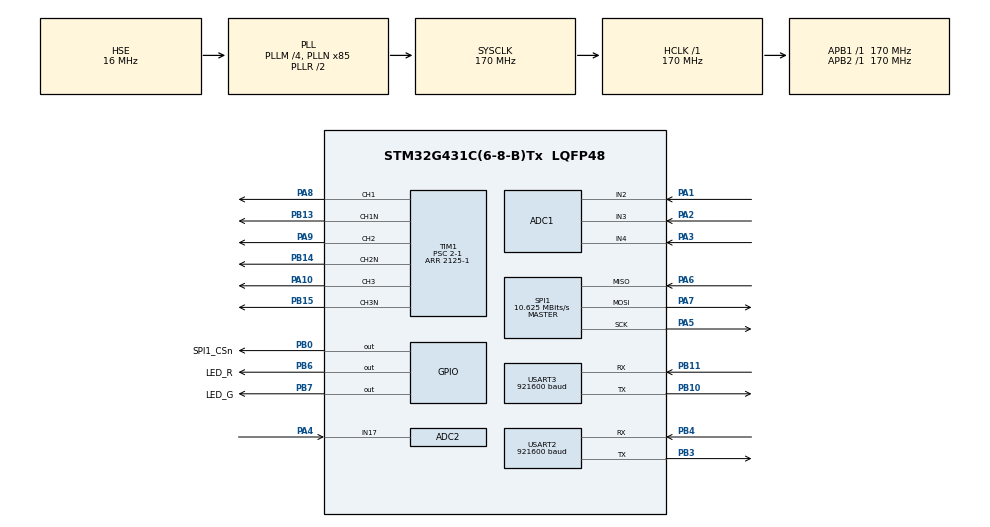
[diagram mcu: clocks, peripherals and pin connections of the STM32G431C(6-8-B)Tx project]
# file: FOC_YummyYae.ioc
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ADC1.ClockPrescaler=ADC_CLOCK_ASYNC_DIV4
ADC1.EnableInjectedConversion=ENABLE
ADC1.EnableRegularConversion=DISABLE
ADC1.ExternalTrigInjecConv=ADC_EXTERNALTRIGINJEC_T1_TRGO2
ADC1.InjNumberOfConversion=3
ADC1.InjectedChannel-2\#ChannelInjectedConversion=ADC_CHANNEL_2
ADC1.InjectedChannel-3\#ChannelInjectedConversion=ADC_CHANNEL_2
ADC1.InjectedChannel-4\#ChannelInjectedConversion=ADC_CHANNEL_2
ADC1.InjectedOffsetNumber-2\#ChannelInjectedConversion=ADC_OFFSET_NONE
ADC1.InjectedOffsetNumber-3\#ChannelInjectedConversion=ADC_OFFSET_NONE
ADC1.InjectedOffsetNumber-4\#ChannelInjectedConversion=ADC_OFFSET_NONE
ADC1.InjectedRank-2\#ChannelInjectedConversion=1
ADC1.InjectedRank-3\#ChannelInjectedConversion=2
ADC1.InjectedRank-4\#ChannelInjectedConversion=3
ADC1.InjectedSamplingTime-2\#ChannelInjectedConversion=ADC_SAMPLETIME_2CYCLES_5
ADC1.InjectedSamplingTime-3\#ChannelInjectedConversion=ADC_SAMPLETIME_2CYCLES_5
ADC1.InjectedSamplingTime-4\#ChannelInjectedConversion=ADC_SAMPLETIME_2CYCLES_5
ADC1.Overrun=ADC_OVR_DATA_OVERWRITTEN
ADC1.Rank1_Channel=ADC_CHANNEL_2
ADC1.Rank2_Channel=ADC_CHANNEL_2
ADC1.Rank3_Channel=ADC_CHANNEL_2
ADC1.master=1
ADC2.ClockPrescaler=ADC_CLOCK_ASYNC_DIV4
ADC2.EnableInjectedConversion=ENABLE
ADC2.EnableRegularConversion=DISABLE
ADC2.InjNumberOfConversion=1
ADC2.InjectedChannel-1\#ChannelInjectedConversion=ADC_CHANNEL_17
ADC2.InjectedOffsetNumber-1\#ChannelInjectedConversion=ADC_OFFSET_NONE
ADC2.InjectedRank-1\#ChannelInjectedConversion=1
ADC2.InjectedSamplingTime-1\#ChannelInjectedConversion=ADC_SAMPLETIME_2CYCLES_5
ADC2.Rank1_Channel=ADC_CHANNEL_17
Dma.ADC1.0.Direction=DMA_PERIPH_TO_MEMORY
Dma.ADC1.0.EventEnable=DISABLE
Dma.ADC1.0.Instance=DMA1_Channel1
Dma.ADC1.0.MemDataAlignment=DMA_MDATAALIGN_HALFWORD
Dma.ADC1.0.MemInc=DMA_MINC_ENABLE
Dma.ADC1.0.Mode=DMA_CIRCULAR
Dma.ADC1.0.PeriphDataAlignment=DMA_PDATAALIGN_HALFWORD
Dma.ADC1.0.PeriphInc=DMA_PINC_DISABLE
Dma.ADC1.0.Polarity=HAL_DMAMUX_REQ_GEN_RISING
Dma.ADC1.0.Priority=DMA_PRIORITY_LOW
Dma.ADC1.0.RequestNumber=1
Dma.ADC1.0.SignalID=NONE
Dma.ADC1.0.SyncEnable=DISABLE
Dma.ADC1.0.SyncPolarity=HAL_DMAMUX_SYNC_NO_EVENT
Dma.ADC1.0.SyncRequestNumber=1
Dma.ADC1.0.SyncSignalID=NONE
Dma.Request0=ADC1
Mcu.Family=STM32G4
Mcu.Name=STM32G431C(6-8-B)Tx
Mcu.Package=LQFP48
NVIC.DMA1_Channel1_IRQn=true\:0\:0\:false\:false\:true\:false\:true\:true
NVIC.PriorityGroup=NVIC_PRIORITYGROUP_4
NVIC.TIM2_IRQn=true\:15\:0\:false\:false\:true\:false\:true\:true
NVIC.TIM6_DAC_IRQn=true\:0\:0\:false\:false\:true\:true\:true\:true
NVIC.TIM7_IRQn=true\:0\:0\:false\:false\:true\:true\:true\:true
NVIC.TimeBase=TIM2_IRQn
NVIC.TimeBaseIP=TIM2
PA1.Mode=IN2-Single-Ended
PA1.Signal=ADC1_IN2
PA10.Signal=S_TIM1_CH3
PA13.Mode=Serial_Wire
PA13.Signal=SYS_JTMS-SWDIO
PA14.Mode=Serial_Wire
PA14.Signal=SYS_JTCK-SWCLK
PA2.Mode=IN3-Single-Ended
PA2.Signal=ADC1_IN3
PA3.Mode=IN4-Single-Ended
PA3.Signal=ADC1_IN4
PA4.Mode=IN17-Single-Ended
PA4.Signal=ADC2_IN17
PA5.GPIO_Speed=GPIO_SPEED_FREQ_HIGH
PA5.Mode=Full_Duplex_Master
PA5.Signal=SPI1_SCK
PA6.GPIO_Speed=GPIO_SPEED_FREQ_HIGH
PA6.Mode=Full_Duplex_Master
PA6.Signal=SPI1_MISO
PA7.GPIO_Speed=GPIO_SPEED_FREQ_HIGH
PA7.Mode=Full_Duplex_Master
PA7.Signal=SPI1_MOSI
PA8.Signal=S_TIM1_CH1
PA9.Signal=S_TIM1_CH2
PB0.GPIO_Label=SPI1_CSn
PB0.Signal=GPIO_Output
PB10.Mode=Asynchronous
PB10.Signal=USART3_TX
PB11.Mode=Asynchronous
PB11.Signal=USART3_RX
PB13.Mode=PWM Generation1 CH1 CH1N
PB13.Signal=TIM1_CH1N
PB14.Mode=PWM Generation2 CH2 CH2N
PB14.Signal=TIM1_CH2N
PB15.Mode=PWM Generation3 CH3 CH3N
PB15.Signal=TIM1_CH3N
PB3.Mode=Asynchronous
PB3.Signal=USART2_TX
PB4.Mode=Asynchronous
PB4.Signal=USART2_RX
PB6.GPIO_Label=LED_R
PB6.PinState=GPIO_PIN_SET
PB6.Signal=GPIO_Output
PB7.GPIO_Label=LED_G
PB7.PinState=GPIO_PIN_SET
PB7.Signal=GPIO_Output
PF0-OSC_IN.Mode=HSE-External-Oscillator
PF0-OSC_IN.Signal=RCC_OSC_IN
PF1-OSC_OUT.Mode=HSE-External-Oscillator
PF1-OSC_OUT.Signal=RCC_OSC_OUT
ProjectManager.HeapSize=0x200
ProjectManager.StackSize=0x400
ProjectManager.TargetToolchain=MDK-ARM V5.32
RCC.ADC12Freq_Value=170000000
RCC.AHBFreq_Value=170000000
RCC.APB1Freq_Value=170000000
RCC.APB1TimFreq_Value=170000000
RCC.APB2Freq_Value=170000000
RCC.APB2TimFreq_Value=170000000
RCC.CK48CLockSelection=RCC_USBCLKSOURCE_HSI48
RCC.CortexFreq_Value=170000000
RCC.EXTERNAL_CLOCK_VALUE=12288000
RCC.HCLKFreq_Value=170000000
RCC.HSE_VALUE=16000000
RCC.HSI48_VALUE=48000000
RCC.HSI_VALUE=16000000
RCC.LSE_VALUE=32768
RCC.PLLM=RCC_PLLM_DIV4
RCC.PLLN=85
RCC.PLLQ=RCC_PLLQ_DIV4
RCC.PLLSourceVirtual=RCC_PLLSOURCE_HSE
RCC.SYSCLKFreq_VALUE=170000000
RCC.SYSCLKSource=RCC_SYSCLKSOURCE_PLLCLK
RCC.USBFreq_Value=48000000
RCC.VCOOutputFreq_Value=340000000
SH.S_TIM1_CH1.0=TIM1_CH1,PWM Generation1 CH1 CH1N
SH.S_TIM1_CH2.0=TIM1_CH2,PWM Generation2 CH2 CH2N
SH.S_TIM1_CH3.0=TIM1_CH3,PWM Generation3 CH3 CH3N
SPI1.BaudRatePrescaler=SPI_BAUDRATEPRESCALER_16
SPI1.CLKPhase=SPI_PHASE_2EDGE
SPI1.CLKPolarity=SPI_POLARITY_HIGH
SPI1.CalculateBaudRate=10.625 MBits/s
SPI1.DataSize=SPI_DATASIZE_8BIT
SPI1.Direction=SPI_DIRECTION_2LINES
SPI1.Mode=SPI_MODE_MASTER
SPI1.VirtualType=VM_MASTER
TIM1.Channel-PWM\ Generation1\ CH1\ CH1N=TIM_CHANNEL_1
TIM1.Channel-PWM\ Generation2\ CH2\ CH2N=TIM_CHANNEL_2
TIM1.Channel-PWM\ Generation3\ CH3\ CH3N=TIM_CHANNEL_3
TIM1.Channel-PWM\ Generation4\ No\ Output=TIM_CHANNEL_4
TIM1.CounterMode=TIM_COUNTERMODE_CENTERALIGNED1
TIM1.PeriodNoDither=2125-1
TIM1.Prescaler=2-1
TIM1.PulseNoDither_4=5
TIM1.TIM_MasterOutputTrigger=TIM_TRGO_UPDATE
TIM1.TIM_MasterOutputTrigger2=TIM_TRGO2_OC4REF
TIM6.PeriodNoDither=100-1
TIM6.Prescaler=170-1
TIM7.PeriodNoDither=1000-1
TIM7.Prescaler=680-1
USART2.BaudRate=921600
USART2.VirtualMode-Asynchronous=VM_ASYNC
USART3.BaudRate=921600
USART3.VirtualMode-Asynchronous=VM_ASYNC
VP_SYS_VS_DBSignals.Mode=DisableDeadBatterySignals
VP_SYS_VS_tim2.Mode=TIM2
VP_TIM1_VS_ClockSourceINT.Mode=Internal
VP_TIM1_VS_no_output4.Mode=PWM Generation4 No Output
VP_TIM3_VS_ClockSourceINT.Mode=Internal
VP_TIM6_VS_ClockSourceINT.Mode=Enable_Timer
VP_TIM7_VS_ClockSourceINT.Mode=Enable_Timer
board=custom

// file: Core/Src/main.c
/* USER CODE BEGIN Header */
/**
  ******************************************************************************
  * @file           : main.c
  * @brief          : Main program body
  ******************************************************************************
  * @attention
  *
  * Copyright (c) 2026 STMicroelectronics.
  * All rights reserved.
  *
  * This software is licensed under terms that can be found in the LICENSE file
  * in the root directory of this software component.
  * If no LICENSE file comes with this software, it is provided AS-IS.
  *
  ******************************************************************************
  */
/* USER CODE END Header */
#include "main.h"
#include "adc.h"
#include "dma.h"
#include "spi.h"
#include "tim.h"
#include "usart.h"
#include "gpio.h"

/* USER CODE BEGIN Includes */
#include "BspDriver.h"
#include "mt6826s.h"
#include "foc_calibrate.h"
#include "foc_log.h"
#include "pid.h"
/* USER CODE END Includes */

/* USER CODE BEGIN PTD */
extern Pid_t pid_iq, pid_id, pid_speed;
/* USER CODE END PTD */

void SystemClock_Config(void);

int main(void)
{

  /* MCU Configuration--------------------------------------------------------*/

  /* Reset of all peripherals, Initializes the Flash interface and the Systick. */
  HAL_Init();

  /* Configure the system clock */
  SystemClock_Config();

  /* Initialize all configured peripherals */
  MX_GPIO_Init();
  MX_DMA_Init();
  MX_ADC1_Init();
  MX_ADC2_Init();
  MX_SPI1_Init();
  MX_TIM1_Init();
  MX_TIM3_Init();
  MX_TIM6_Init();
  MX_USART2_UART_Init();
  MX_USART3_UART_Init();
  MX_TIM7_Init();
  /* USER CODE BEGIN 2 */
  HAL_TIM_PWM_Start(&htim1, TIM_CHANNEL_1);
  HAL_TIMEx_PWMN_Start(&htim1, TIM_CHANNEL_1);
  HAL_TIM_PWM_Start(&htim1, TIM_CHANNEL_2);
  HAL_TIMEx_PWMN_Start(&htim1, TIM_CHANNEL_2);
  HAL_TIM_PWM_Start(&htim1, TIM_CHANNEL_3);
  HAL_TIMEx_PWMN_Start(&htim1, TIM_CHANNEL_3);

  FOC_Current_PID_Init(&pid_iq, &pid_id);
  FOC_Speed_PID_Init(&pid_speed);
  FOC_Position_PID_Init(&pid_position);
  MT6826S_Init();
  MT6826S_Enable();
  FOC_Calibrate_Init();

  extern void CTRL_Task_Init(void);
  CTRL_Task_Init();
	//FOC_Calibrate_Run();
  setTargetI(1.5, 0); // 璁剧疆鐩爣FOC鐢靛帇
  HAL_TIM_Base_Start_IT(&htim6);
  HAL_TIM_Base_Start_IT(&htim7); // 请确保你在CubeMX中配置了250Hz的TIM7中断并生成代码 // 寮€鍚疶IM6涓柇锛岀敱涓柇鎺ョFOC杩愮畻
  /* USER CODE END 2 */

  /* Infinite loop */
  /* USER CODE BEGIN WHILE */
  while (1)
  {
    // 锟?鏁版嵁1,鏁版嵁2,鏁版嵁3\n 鏍煎紡鎵撳嵃杩樺師鍑虹殑涓夌浉鐢垫祦
    printf("%.2f,%.2f,%.2f,%.2f,%.2f,%.2f,%.2f\r\n", foc_params.id,
		foc_params.target_position,foc_params.motor_position,  foc_params.target_speed,
		foc_params.motor_speed,foc_params.shaft_angle, foc_params.pwm_u);
//    HAL_Delay(1); // 璋冩暣鑷冲悎閫傛墦鍗伴€熺巼锛堝5ms锟?00Hz鍙戦€侊級
    /* USER CODE END WHILE */

  }
}

void SystemClock_Config(void)
{
  RCC_OscInitTypeDef RCC_OscInitStruct = {0};
  RCC_ClkInitTypeDef RCC_ClkInitStruct = {0};

  /** Configure the main internal regulator output voltage
  */
  HAL_PWREx_ControlVoltageScaling(PWR_REGULATOR_VOLTAGE_SCALE1_BOOST);

  /** Initializes the RCC Oscillators according to the specified parameters
  * in the RCC_OscInitTypeDef structure.
  */
  RCC_OscInitStruct.OscillatorType = RCC_OSCILLATORTYPE_HSE;
  RCC_OscInitStruct.HSEState = RCC_HSE_ON;
  RCC_OscInitStruct.PLL.PLLState = RCC_PLL_ON;
  RCC_OscInitStruct.PLL.PLLSource = RCC_PLLSOURCE_HSE;
  RCC_OscInitStruct.PLL.PLLM = RCC_PLLM_DIV4;
  RCC_OscInitStruct.PLL.PLLN = 85;
  RCC_OscInitStruct.PLL.PLLP = RCC_PLLP_DIV2;
  RCC_OscInitStruct.PLL.PLLQ = RCC_PLLQ_DIV4;
  RCC_OscInitStruct.PLL.PLLR = RCC_PLLR_DIV2;
  if (HAL_RCC_OscConfig(&RCC_OscInitStruct) != HAL_OK)
  {
    Error_Handler();
  }

  /** Initializes the CPU, AHB and APB buses clocks
  */
  RCC_ClkInitStruct.ClockType = RCC_CLOCKTYPE_HCLK|RCC_CLOCKTYPE_SYSCLK
                              |RCC_CLOCKTYPE_PCLK1|RCC_CLOCKTYPE_PCLK2;
  RCC_ClkInitStruct.SYSCLKSource = RCC_SYSCLKSOURCE_PLLCLK;
  RCC_ClkInitStruct.AHBCLKDivider = RCC_SYSCLK_DIV1;
  RCC_ClkInitStruct.APB1CLKDivider = RCC_HCLK_DIV1;
  RCC_ClkInitStruct.APB2CLKDivider = RCC_HCLK_DIV1;

  if (HAL_RCC_ClockConfig(&RCC_ClkInitStruct, FLASH_LATENCY_4) != HAL_OK)
  {
    Error_Handler();
  }
}

void HAL_TIM_PeriodElapsedCallback(TIM_HandleTypeDef *htim)
{
  if (htim->Instance == TIM2)
  {
    HAL_IncTick();
  }
  /* USER CODE BEGIN Callback 1 */
  else if(htim->Instance == TIM6)
  {
      extern void FOC_Task(void);
      FOC_Task();
  }
  else if(htim->Instance == TIM7)
  {
      extern void CTRL_Task(void);
      CTRL_Task();
  }
  /* USER CODE END Callback 1 */
}

void Error_Handler(void)
{
  __disable_irq();
  while (1)
  {
  }
}
